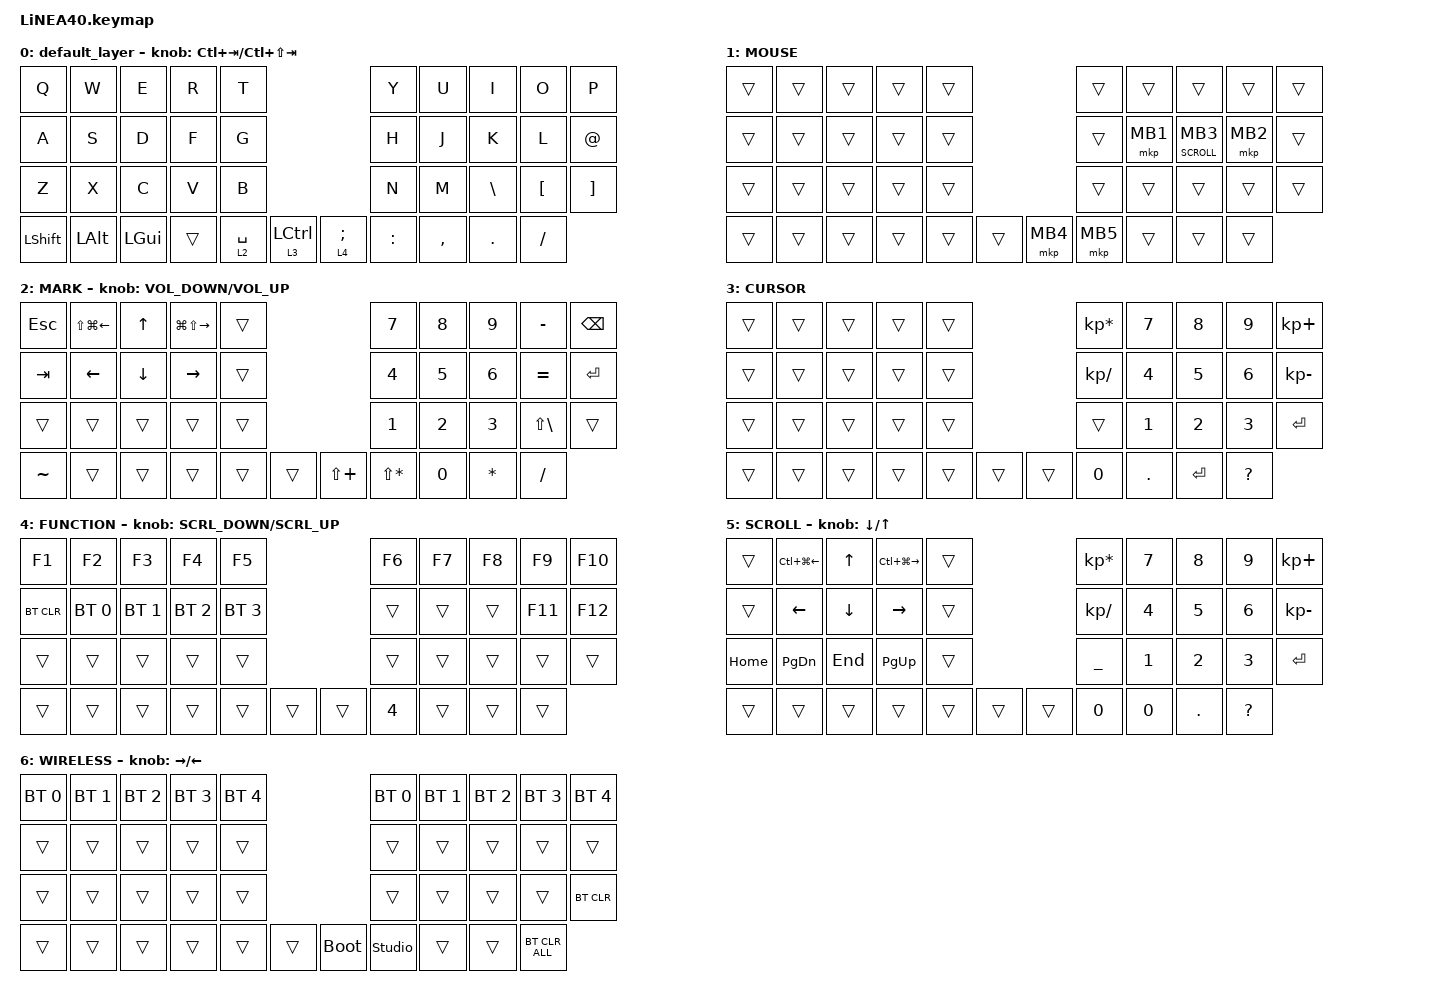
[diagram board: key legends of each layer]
#define ZMK_POINTING_DEFAULT_SCRL_VAL 150

#include <dt-bindings/zmk/input_transform.h>
#include <input/processors.dtsi>
#include <zephyr/dt-bindings/input/input-event-codes.h>
#include <behaviors.dtsi>
#include <dt-bindings/zmk/bt.h>
#include <dt-bindings/zmk/keys.h>
#include <dt-bindings/zmk/pointing.h>

#define MOUSE 1
#define MARK 2
#define CURSOR 3
#define FUNCTION 4
#define SCROLL 5
#define WIRELESS 6

//mouse cursol

&mmv {
    delay-ms = <20>;
    trigger-period-ms = <5>;
    time-to-max-speed-ms = <100>;
    acceleration-exponent = <2>;
};

//mouse scroll

&msc {
    delay-ms = <3>;
    trigger-period-ms = <3>;
    time-to-max-speed-ms = <100>;
    acceleration-exponent = <0>;
};

/ {
    input_processors {
        zip_wheel_scaler: zip_wheel_scaler {
            compatible = "zmk,input-processor-scaler";
            #input-processor-cells = <2>;
            type = <INPUT_EV_REL>;
            codes = <INPUT_REL_WHEEL>;
            track-remainders;
        };
    };
};

&msc_input_listener {
    speed_up {
        layers = <FUNCTION>;
        input-processors = <&zip_wheel_scaler 3 1>; //スクロールを3倍速にする
    };
};

&trackball_listener {
    scroller {
        layers = <SCROLL>;
        input-processors = <&zip_xy_to_scroll_mapper>;
    };
};

/ {
    combos {
        compatible = "zmk,combos";

        ZenkakuHankaku {
            bindings = <&kp GRAVE>;
            key-positions = <11 12>;
        };

        DeleteKey {
            bindings = <&kp DEL>;
            key-positions = <7 8>;
        };

        InsertKey {
            bindings = <&kp INS>;
            key-positions = <6 7>;
        };

        CenterClick {
            bindings = <&mkp MB3>;
            key-positions = <17 16>;
        };

        RightClick {
            bindings = <&mkp MB2>;
            key-positions = <18 17>;
        };

        PrevClick {
            bindings = <&mkp MB4>;
            key-positions = <27 28>;
        };

        ClickNext {
            bindings = <&mkp MB5>;
            key-positions = <26 27>;
        };
    };

    behaviors {
        re_kp: sensor_rotate_kp {
            compatible = "zmk,behavior-sensor-rotate-var";
            #sensor-binding-cells = <2>;
            bindings = <&kp>, <&kp>;
        };

        mouse_scrl: mouse_wheel_scrl {
            compatible = "zmk,behavior-sensor-rotate-var";
            #sensor-binding-cells = <2>;
            bindings = <&msc>, <&msc>;

            tap-ms = <20>;
        };

        mb3_or_scroll: mb3_hold_scroll {
            compatible = "zmk,behavior-hold-tap";
            #binding-cells = <2>;
            tapping-term-ms = <120>;
            flavor = "hold-preferred";
            bindings = <&mo>, <&mkp>;
        };
    };

    keymap {
        compatible = "zmk,keymap";

        default_layer {
            bindings = <
&kp Q      &kp W     &kp E     &kp R   &kp T                                        &kp Y      &kp U  &kp I      &kp O     &kp P
&kp A      &kp S     &kp D     &kp F   &kp G                                        &kp H      &kp J  &kp K      &kp L     &kp AT
&kp Z      &kp X     &kp C     &kp V   &kp B                                        &kp N      &kp M  &kp BSLH   &kp LBKT  &kp RBKT
&kp LSHFT  &kp LALT  &kp LGUI  &trans  &lt 2 SPACE  &lt 3 LCTRL    &lt 4 SEMICOLON  &kp COLON         &kp COMMA  &kp DOT   &kp FSLH
            >;

            sensor-bindings = <&re_kp LC(TAB) LC(LS(TAB))>;
        };

        //1

        MOUSE {
            bindings = <
&trans  &trans  &trans  &trans  &trans                      &trans    &trans    &trans                     &trans    &trans
&trans  &trans  &trans  &trans  &trans                      &trans    &mkp MB1  &mb3_or_scroll SCROLL MB3  &mkp MB2  &trans
&trans  &trans  &trans  &trans  &trans                      &trans    &trans    &trans                     &trans    &trans
&trans  &trans  &trans  &trans  &trans  &trans    &mkp MB4  &mkp MB5            &trans                     &trans    &trans
            >;
        };

        //2

        MARK {
            bindings = <
&kp ESCAPE  &kp LS(LG(LEFT))  &kp UP    &kp LG(LS(RIGHT))  &trans                          &kp N7        &kp N8  &kp N9  &kp MINUS          &kp BACKSPACE
&kp TAB     &kp LEFT          &kp DOWN  &kp RIGHT          &trans                          &kp N4        &kp N5  &kp N6  &kp EQUAL          &kp RET
&trans      &trans            &trans    &trans             &trans                          &kp N1        &kp N2  &kp N3  &kp LS(BACKSLASH)  &trans
&kp TILDE   &trans            &trans    &trans             &trans  &trans    &kp LS(PLUS)  &kp LS(STAR)          &kp N0  &kp STAR           &kp FSLH
            >;

            sensor-bindings = <&re_kp C_VOLUME_DOWN C_VOLUME_UP>;
        };

        //3

        CURSOR {
            bindings = <
&trans  &trans  &trans  &trans  &trans                    &kp KP_MULTIPLY  &kp NUMBER_7  &kp NUMBER_8  &kp NUMBER_9  &kp KP_PLUS
&trans  &trans  &trans  &trans  &trans                    &kp KP_SLASH     &kp NUMBER_4  &kp NUMBER_5  &kp NUMBER_6  &kp KP_MINUS
&trans  &trans  &trans  &trans  &trans                    &trans           &kp NUMBER_1  &kp NUMBER_2  &kp NUMBER_3  &kp ENTER
&trans  &trans  &trans  &trans  &trans  &trans    &trans  &kp NUMBER_0                   &kp DOT       &kp ENTER     &kp QUESTION
            >;
        };

        //4

        FUNCTION {
            bindings = <
&kp F1      &kp F2        &kp F3        &kp F4        &kp F5                          &kp F6        &kp F7  &kp F8  &kp F9   &kp F10
&bt BT_CLR  &bt BT_SEL 0  &bt BT_SEL 1  &bt BT_SEL 2  &bt BT_SEL 3                    &trans        &trans  &trans  &kp F11  &kp F12
&trans      &trans        &trans        &trans        &trans                          &trans        &trans  &trans  &trans   &trans
&trans      &trans        &trans        &trans        &trans        &trans    &trans  &kp NUMBER_4          &trans  &trans   &trans
            >;

            sensor-bindings = <&mouse_scrl SCRL_DOWN SCRL_UP>;
        };

        //5

        SCROLL {
            bindings = <
&trans    &kp LC(LG(LEFT_ARROW))  &kp UP_ARROW  &kp LC(LG(RIGHT_ARROW))  &trans                    &kp KP_MULTIPLY  &kp NUMBER_7  &kp NUMBER_8  &kp NUMBER_9  &kp KP_PLUS
&trans    &kp LEFT_ARROW          &kp DOWN      &kp RIGHT_ARROW          &trans                    &kp KP_SLASH     &kp NUMBER_4  &kp NUMBER_5  &kp NUMBER_6  &kp KP_MINUS
&kp HOME  &kp PAGE_DOWN           &kp END       &kp PAGE_UP              &trans                    &kp UNDER        &kp NUMBER_1  &kp NUMBER_2  &kp NUMBER_3  &kp ENTER
&trans    &trans                  &trans        &trans                   &trans  &trans    &trans  &kp NUMBER_0                   &kp NUMBER_0  &kp DOT       &kp QUESTION
            >;

            sensor-bindings = <&inc_dec_kp DOWN_ARROW UP_ARROW>;
        };

        //6

        WIRELESS {
            bindings = <
&bt BT_SEL 0  &bt BT_SEL 1  &bt BT_SEL 2  &bt BT_SEL 3  &bt BT_SEL 4                         &bt BT_SEL 0    &bt BT_SEL 1  &bt BT_SEL 2  &bt BT_SEL 3  &bt BT_SEL 4
&trans        &trans        &trans        &trans        &trans                               &trans          &trans        &trans        &trans        &trans
&trans        &trans        &trans        &trans        &trans                               &trans          &trans        &trans        &trans        &bt BT_CLR
&trans        &trans        &trans        &trans        &trans        &trans    &bootloader  &studio_unlock                &trans        &trans        &bt BT_CLR_ALL
            >;

            sensor-bindings = <&inc_dec_kp RIGHT_ARROW LEFT_ARROW>;
        };
    };
};
